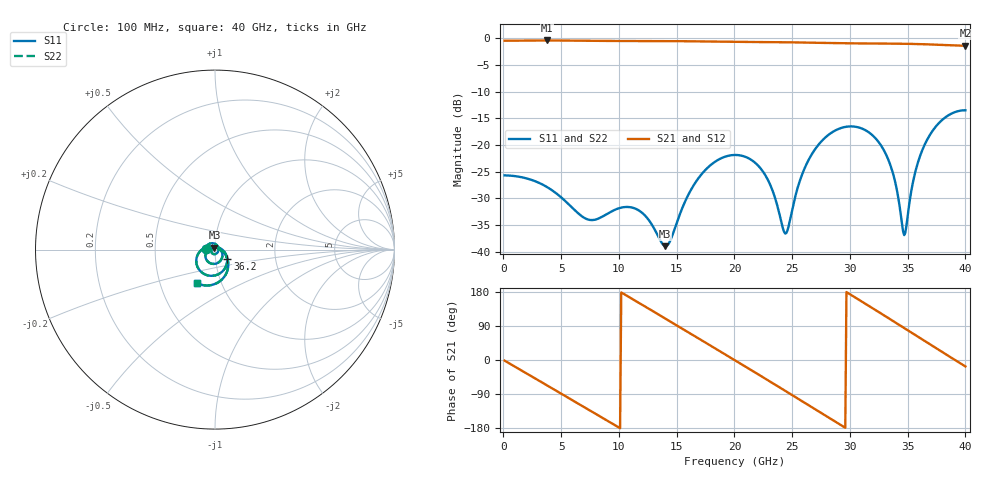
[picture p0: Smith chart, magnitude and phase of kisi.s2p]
! thru_s8x2_L1: 2×thru, L1, 8 mm
! stackup: 8-layer 1.6 mm FR-4 without the L2 plane
! ports: 1, 2
! kisi-fdtd, conformal, dfine 0.035 mm, 432250 cells
# Hz S RI R 50
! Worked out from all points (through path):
!   400 points, 100 MHz to 40 GHz, reference 50 ohm
!   highest |S21| = -0.45 dB at 3.8 GHz (marker M1); lowest = -1.4 dB at 40 GHz (marker M2)
!   group delay of S21, straight-line fit = 51.2 ps
!   lowest |S11| = -38.9 dB at 14 GHz (marker M3), VSWR 1.02, Z = 49.7 + j1.08 ohm
!   |S11| at or under -10 dB: start of sweep to end of sweep
!   |S22| runs from -38.9 to -13.5 dB; largest |S21 - S12| = 0
!   S11 on the Smith chart (normalised r, x): 100 MHz: 0.90, +0.00; 36.2 GHz: 1.14, -0.12; 40 GHz: 0.77, -0.30
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1e8  -0.052 0.00133  0.944 -0.029  0.944 -0.029  -0.052 0.00133
1.9e9  -0.0431 0.0235  0.7895 -0.5236  0.7895 -0.5236  -0.0431 0.0235
3.8e9  -0.0189 0.0356  0.3637 -0.8777  0.3637 -0.8777  -0.0189 0.0356
6.8e9  0.0184 0.0112  -0.4884 -0.8079  -0.4884 -0.8079  0.0184 0.0112
1.01e10  -0.00358 -0.0256  -0.9398 -0.00127  -0.9398 -0.00127  -0.00358 -0.0256
1.17e10  -0.0196 -0.0148  -0.8249 0.451  -0.8249 0.451  -0.0196 -0.0148
1.34e10  -0.0124 0.00659  -0.4773 0.809  -0.4773 0.809  -0.0124 0.00659
1.4e10  -0.00312 0.0109  -0.3153 0.8839  -0.3153 0.8839  -0.00312 0.0109
1.67e10  0.0406 -0.0214  0.4595 0.8096  0.4595 0.8096  0.0406 -0.0214
1.85e10  0.0254 -0.0671  0.8202 0.4284  0.8202 0.4284  0.0254 -0.0671
2.01e10  -0.0188 -0.0785  0.9213 -0.0274  0.9213 -0.0274  -0.0188 -0.0785
2.26e10  -0.0506 -0.0182  0.616 -0.6804  0.616 -0.6804  -0.0506 -0.0182
2.44e10  -0.000812 0.0148  0.1368 -0.9036  0.1368 -0.9036  -0.000812 0.0148
2.67e10  0.0669 -0.0473  -0.5127 -0.7466  -0.5127 -0.7466  0.0669 -0.0473
2.84e10  0.0378 -0.1247  -0.8231 -0.3606  -0.8231 -0.3606  0.0378 -0.1247
3e10  -0.0426 -0.143  -0.8877 0.0987  -0.8877 0.0987  -0.0426 -0.143
3.16e10  -0.1015 -0.0848  -0.7157 0.5289  -0.7157 0.5289  -0.1015 -0.0848
3.34e10  -0.0696 0.00257  -0.2938 0.8376  -0.2938 0.8376  -0.0696 0.00257
3.47e10  0.00327 0.014  0.0865 0.8804  0.0865 0.8804  0.00327 0.014
3.62e10  0.0689 -0.0513  0.4973 0.7227  0.4973 0.7227  0.0689 -0.0513
3.81e10  0.0316 -0.1728  0.8151 0.2806  0.8151 0.2806  0.0316 -0.1728
4e10  -0.1016 -0.1853  0.8105 -0.2467  0.8105 -0.2467  -0.1016 -0.1853
